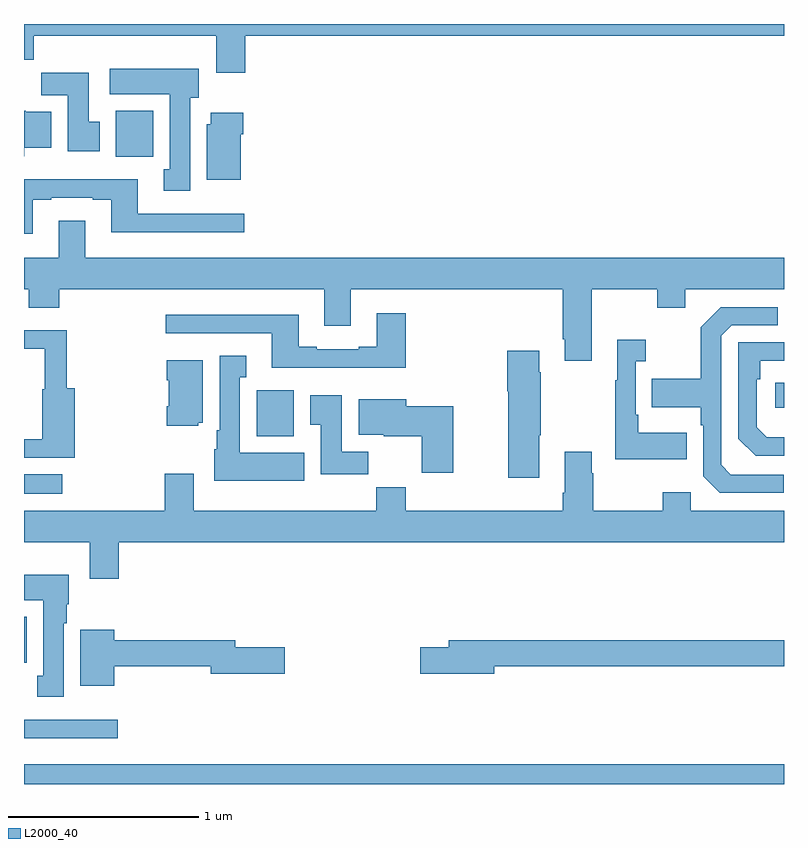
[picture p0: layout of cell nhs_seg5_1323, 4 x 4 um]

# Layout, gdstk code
import gdstk
lib = gdstk.Library(unit=1e-6, precision=1e-09)
def R(c, l, rs):  # rectangles x0, y0, x1, y1
    for r in rs: c.add(gdstk.rectangle(r[:2], r[2:], *l))
def P(c, l, *ps):  # polygons
    for p in ps: c.add(gdstk.Polygon(p, *l))
L2000_40 = (2000, 40)

nhs_seg5_1323 = lib.new_cell('nhs_seg5_1323')
R(nhs_seg5_1323, L2000_40, [(191,876.799,195,876.904), (191,877.04,191.494,877.137), (191,877.436,191.014,877.678), (191,878.327,191.2,878.428), (192.224,878.63,192.421,878.872), (194.955,878.78,195,878.91), (191.483,880.1,191.68,880.342)])
P(nhs_seg5_1323, L2000_40, [(192.164,880.736),(195,880.736),(195,880.799),(191,880.799),(191,880.612),(191.051,880.612),(191.051,880.736),(192.011,880.736),(192.011,880.542),(192.164,880.542)],
  [(191.875,880.41),(191.92,880.41),(191.92,880.564),(191.451,880.564),(191.451,880.43),(191.768,880.43),(191.768,880.034),(191.735,880.034),(191.735,879.921),(191.875,879.921)],
  [(191.398,880.284),(191.341,880.284),(191.341,880.543),(191.092,880.543),(191.092,880.424),(191.231,880.424),(191.231,880.128),(191.398,880.128)],
  [(191.002,880.148),(191.143,880.148),(191.143,880.336),(191.01,880.336),(191.01,880.342),(191,880.342),(191,880.104),(191.002,880.104)],
  [(192.142,880.22),(192.155,880.22),(192.155,880.333),(191.984,880.333),(191.984,880.272),(191.963,880.272),(191.963,879.98),(192.142,879.98)],
  [(191.047,879.873),(191.143,879.873),(191.143,879.885),(191.363,879.885),(191.363,879.873),(191.459,879.873),(191.459,879.704),(192.16,879.704),(192.16,879.801),(191.599,879.801),(191.599,879.982),(191,879.982),(191,879.696),(191.047,879.696)],
  [(193.987,879.404),(194.332,879.404),(194.332,879.305),(194.479,879.305),(194.479,879.404),(195,879.404),(195,879.568),(191.323,879.568),(191.323,879.763),(191.183,879.763),(191.183,879.568),(191,879.568),(191,879.404),(191.026,879.404),(191.026,879.305),(191.186,879.305),(191.186,879.404),(192.581,879.404),(192.581,879.21),(192.721,879.21),(192.721,879.404),(193.835,879.404),(193.835,879.139),(193.847,879.139),(193.847,879.027),(193.987,879.027)],
  [(194.998,878.427),(194.721,878.427),(194.67,878.478),(194.67,879.159),(194.724,879.213),(194.968,879.213),(194.968,879.309),(194.667,879.309),(194.562,879.203),(194.562,878.931),(194.305,878.931),(194.305,878.783),(194.562,878.783),(194.562,878.687),(194.574,878.687),(194.574,878.418),(194.661,878.331),(194.998,878.331)],
  [(193.01,879.277),(192.857,879.277),(192.857,879.1),(192.761,879.1),(192.761,879.087),(192.541,879.087),(192.541,879.1),(192.445,879.1),(192.445,879.268),(191.745,879.268),(191.745,879.171),(192.305,879.171),(192.305,878.99),(193.01,878.99)],
  [(191.267,878.881),(191.225,878.881),(191.225,879.186),(191,879.186),(191,879.09),(191.109,879.09),(191.109,878.877),(191.096,878.877),(191.096,878.613),(191,878.613),(191,878.517),(191.267,878.517)],
  [(194.489,878.647),(194.233,878.647),(194.233,878.743),(194.22,878.743),(194.22,879.023),(194.272,879.023),(194.272,879.136),(194.123,879.136),(194.123,878.923),(194.112,878.923),(194.112,878.507),(194.489,878.507)],
  [(195,878.623),(194.909,878.623),(194.856,878.676),(194.856,878.93),(194.876,878.93),(194.876,879.027),(195,879.027),(195,879.123),(194.76,879.123),(194.76,878.616),(194.85,878.526),(195,878.526)],
  [(193.711,878.635),(193.719,878.635),(193.719,878.966),(193.711,878.966),(193.711,879.079),(193.544,879.079),(193.544,878.866),(193.549,878.866),(193.549,878.412),(193.711,878.412)],
  [(192.475,878.542),(192.136,878.542),(192.136,878.939),(192.169,878.939),(192.169,879.052),(192.029,879.052),(192.029,878.662),(192.014,878.662),(192.014,878.562),(192.002,878.562),(192.002,878.396),(192.475,878.396)],
  [(191.916,878.7),(191.941,878.7),(191.941,879.028),(191.75,879.028),(191.75,878.924),(191.762,878.924),(191.762,878.788),(191.75,878.788),(191.75,878.684),(191.916,878.684)],
  [(192.812,878.548),(192.673,878.548),(192.673,878.845),(192.506,878.845),(192.506,878.689),(192.563,878.689),(192.563,878.43),(192.812,878.43)],
  [(193.26,878.788),(193.012,878.788),(193.012,878.824),(192.761,878.824),(192.761,878.636),(192.894,878.636),(192.894,878.63),(193.094,878.63),(193.094,878.436),(193.26,878.436)],
  [(191.498,878.072),(195,878.072),(195,878.236),(194.508,878.236),(194.508,878.335),(194.362,878.335),(194.362,878.236),(193.995,878.236),(193.995,878.435),(193.987,878.435),(193.987,878.548),(193.847,878.548),(193.847,878.332),(193.835,878.332),(193.835,878.236),(193.01,878.236),(193.01,878.36),(192.853,878.36),(192.853,878.236),(191.893,878.236),(191.893,878.431),(191.741,878.431),(191.741,878.236),(191,878.236),(191,878.072),(191.345,878.072),(191.345,877.878),(191.498,877.878)],
  [(191.209,877.646),(191.224,877.646),(191.224,877.746),(191.236,877.746),(191.236,877.9),(191,877.9),(191,877.766),(191.102,877.766),(191.102,877.37),(191.069,877.37),(191.069,877.257),(191.209,877.257)],
  [(191.476,877.42),(191.984,877.42),(191.984,877.378),(192.373,877.378),(192.373,877.52),(192.112,877.52),(192.112,877.556),(191.476,877.556),(191.476,877.612),(191.297,877.612),(191.297,877.316),(191.476,877.316)],
  [(193.474,877.42),(195,877.42),(195,877.556),(193.235,877.556),(193.235,877.52),(193.086,877.52),(193.086,877.378),(193.474,877.378)])

lib.write_gds('nhs_seg5_1323.gds')
